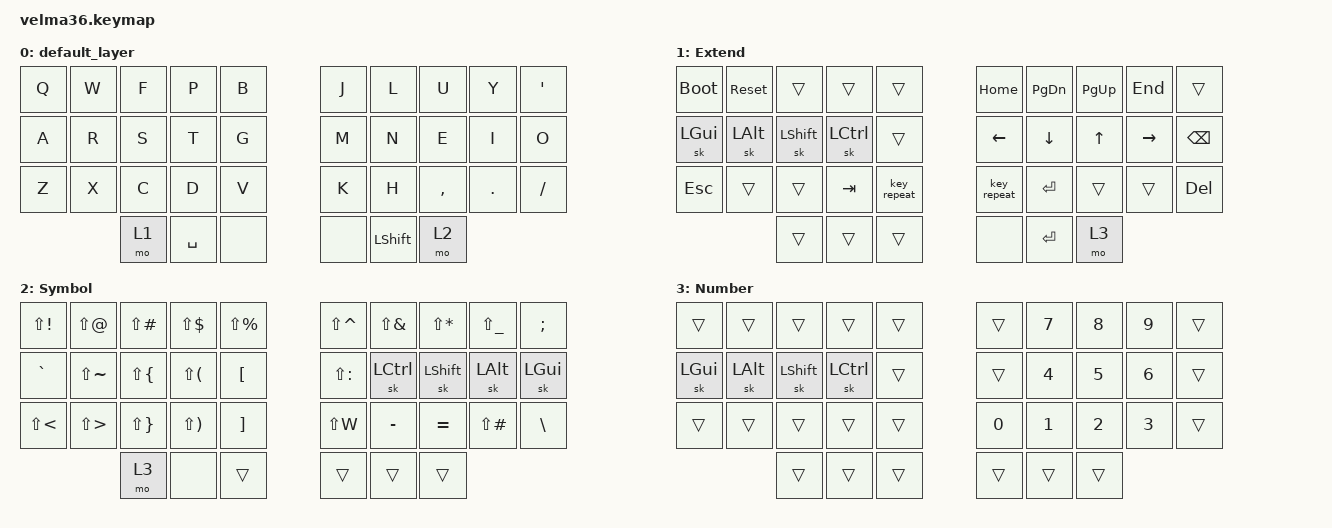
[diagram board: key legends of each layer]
#include <behaviors.dtsi>
#include <dt-bindings/zmk/keys.h>

/ {
    behaviors {
        timeless_mt_left: timeless_mt_left {
            compatible = "zmk,behavior-hold-tap";
            label = "TIMELESS_MT_LEFT";
            #binding-cells = <2>;
            bindings = <&kp>, <&kp>;

            tapping-term-ms = <280>;
            quick-tap-ms = <175>;
            require-prior-idle-ms = <150>;
            flavor = "balanced";
            hold-trigger-key-positions = <35 34 33 32 31 30 29 28 27 26 25 15 5 6 16 7 17 8 18 9 19>;
            hold-trigger-on-release;
        };

        timeless_mt_right: timeless_mt_right {
            compatible = "zmk,behavior-hold-tap";
            label = "TIMELESS_MT_RIGHT";
            #binding-cells = <2>;
            bindings = <&kp>, <&kp>;

            tapping-term-ms = <280>;
            quick-tap-ms = <175>;
            require-prior-idle-ms = <150>;
            flavor = "balanced";
            hold-trigger-key-positions = <35 34 33 32 31 30 0 1 2 3 4 10 11 12 13 14 20 21 22 23 24>;
            hold-trigger-on-release;
        };
    };

    combos {
        compatible = "zmk,combos";

        Escape {
            bindings = <&kp ESCAPE>;
            key-positions = <2 1>;
        };

        Tab {
            bindings = <&kp TAB>;
            key-positions = <21 22>;
        };

        Backspace {
            bindings = <&kp BACKSPACE>;
            key-positions = <8 7>;
        };

        Enter {
            bindings = <&kp ENTER>;
            key-positions = <28 27>;
        };
    };

    keymap {
        compatible = "zmk,keymap";

        default_layer {
            bindings = <
&kp Q  &kp W      &kp F  &kp P  &kp B           &kp J  &kp L  &kp U      &kp Y    &kp SQT
&kp A  &kp R      &kp S  &kp T  &kp G           &kp M  &kp N  &kp E      &kp I    &kp O
&kp Z  &kp X      &kp C  &kp D  &kp V           &kp K  &kp H  &kp COMMA  &kp DOT  &kp FSLH
&mo 1  &kp SPACE  &none  &none  &kp LEFT_SHIFT  &mo 2
            >;
        };

        Extend {
            bindings = <
&bootloader   &sys_reset    &trans          &trans     &trans       &kp HOME     &kp PG_DN  &kp PG_UP  &kp END    &trans
&sk LEFT_GUI  &sk LEFT_ALT  &sk LEFT_SHIFT  &sk LCTRL  &trans       &kp LEFT     &kp DOWN   &kp UP     &kp RIGHT  &kp BSPC
&kp ESCAPE    &trans        &trans          &kp TAB    &key_repeat  &key_repeat  &kp RET    &trans     &trans     &kp DEL
&trans        &trans        &trans          &none      &kp ENTER    &mo 3
            >;
        };

        Symbol {
            bindings = <
&kp LS(EXCL)  &kp LS(AT)     &kp LS(POUND)  &kp LS(DLLR)  &kp LS(PRCNT)  &kp LS(CARET)  &kp LS(AMPS)  &kp LS(STAR)    &kp LS(UNDER)  &kp SEMI
&kp GRAVE     &kp LS(TILDE)  &kp LS(LBRC)   &kp LS(LPAR)  &kp LBKT       &kp LS(COLON)  &sk LCTRL     &sk LEFT_SHIFT  &sk LEFT_ALT   &sk LEFT_GUI
&kp LS(LT)    &kp LS(GT)     &kp LS(RBRC)   &kp LS(RPAR)  &kp RBKT       &kp LS(W)      &kp MINUS     &kp EQUAL       &kp LS(POUND)  &kp BSLH
&mo 3         &none          &trans         &trans        &trans         &trans
            >;
        };

        Number {
            bindings = <
&trans        &trans        &trans          &trans     &trans  &trans  &kp N7  &kp N8  &kp N9  &trans
&sk LEFT_GUI  &sk LEFT_ALT  &sk LEFT_SHIFT  &sk LCTRL  &trans  &trans  &kp N4  &kp N5  &kp N6  &trans
&trans        &trans        &trans          &trans     &trans  &kp N0  &kp N1  &kp N2  &kp N3  &trans
&trans        &trans        &trans          &trans     &trans  &trans
            >;
        };
    };
};
